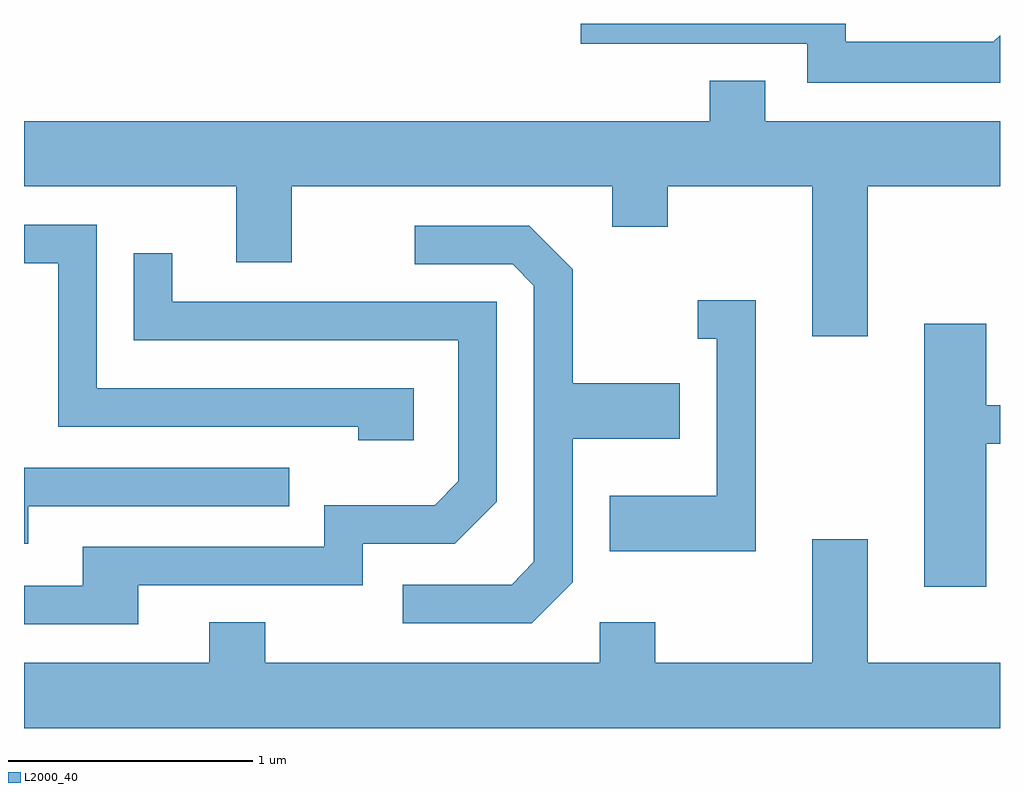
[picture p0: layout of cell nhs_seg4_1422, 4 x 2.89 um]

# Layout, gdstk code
import gdstk
lib = gdstk.Library(unit=1e-6, precision=1e-09)
def P(c, l, *ps):  # polygons
    for p in ps: c.add(gdstk.Polygon(p, *l))
L2000_40 = (2000, 40)

nhs_seg4_1422 = lib.new_cell('nhs_seg4_1422')
P(nhs_seg4_1422, L2000_40, [(229.611,1381.936),(229.584,1381.909),(228.979,1381.909),(228.979,1381.982),(227.893,1381.982),(227.893,1381.901),(228.821,1381.901),(228.821,1381.741),(229.611,1381.741)],
  [(229.069,1381.316),(229.611,1381.316),(229.611,1381.584),(228.649,1381.584),(228.649,1381.749),(228.421,1381.749),(228.421,1381.584),(225.611,1381.584),(225.611,1381.316),(226.481,1381.316),(226.481,1381.006),(226.709,1381.006),(226.709,1381.316),(228.021,1381.316),(228.021,1381.151),(228.249,1381.151),(228.249,1381.316),(228.841,1381.316),(228.841,1380.701),(229.069,1380.701)],
  [(227.209,1380.489),(225.909,1380.489),(225.909,1381.159),(225.611,1381.159),(225.611,1381.001),(225.751,1381.001),(225.751,1380.331),(226.981,1380.331),(226.981,1380.276),(227.209,1380.276)],
  [(227.859,1379.694),(227.859,1380.281),(228.299,1380.281),(228.299,1380.509),(227.859,1380.509),(227.859,1380.977),(227.682,1381.154),(227.213,1381.154),(227.213,1380.996),(227.614,1380.996),(227.701,1380.909),(227.701,1379.777),(227.609,1379.684),(227.163,1379.684),(227.163,1379.526),(227.692,1379.526)],
  [(226.079,1379.681),(226.999,1379.681),(226.999,1379.851),(227.377,1379.851),(227.549,1380.024),(227.549,1380.844),(226.219,1380.844),(226.219,1381.043),(226.061,1381.043),(226.061,1380.686),(227.391,1380.686),(227.391,1380.107),(227.294,1380.009),(226.841,1380.009),(226.841,1379.839),(225.851,1379.839),(225.851,1379.679),(225.611,1379.679),(225.611,1379.521),(226.079,1379.521)],
  [(228.609,1380.849),(228.373,1380.849),(228.373,1380.691),(228.451,1380.691),(228.451,1380.049),(228.011,1380.049),(228.011,1379.821),(228.609,1379.821)],
  [(229.554,1380.261),(229.611,1380.261),(229.611,1380.419),(229.554,1380.419),(229.554,1380.754),(229.301,1380.754),(229.301,1379.676),(229.554,1379.676)],
  [(225.629,1380.006),(226.698,1380.006),(226.698,1380.164),(225.611,1380.164),(225.611,1379.851),(225.629,1379.851)],
  [(229.611,1379.364),(229.069,1379.364),(229.069,1379.869),(228.841,1379.869),(228.841,1379.364),(228.199,1379.364),(228.199,1379.529),(227.971,1379.529),(227.971,1379.364),(226.599,1379.364),(226.599,1379.529),(226.371,1379.529),(226.371,1379.364),(225.611,1379.364),(225.611,1379.096),(229.611,1379.096)])

lib.write_gds('nhs_seg4_1422.gds')
